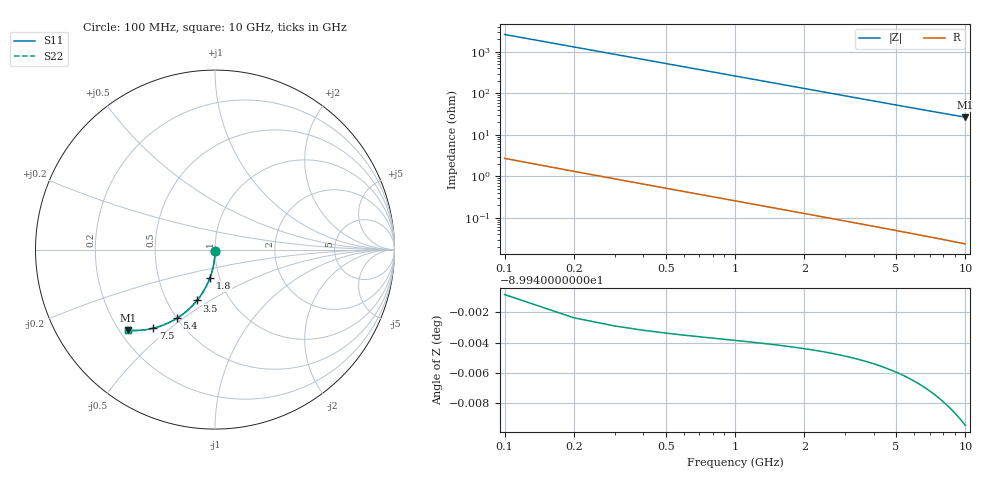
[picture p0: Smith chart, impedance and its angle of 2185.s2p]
# Hz S RI R 50.00
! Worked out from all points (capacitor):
!   100 points, 100 MHz to 10 GHz, reference 50 ohm
!   read as one part in shunt: C = 604 fF near 100 MHz
!   lowest |Z| = 26.8 ohm at 10 GHz (marker M1)
!   S11 on the Smith chart (normalised r, x): 100 MHz: 1.00, -0.02; 1.8 GHz: 0.90, -0.29; 3.5 GHz: 0.70, -0.44; 5.4 GHz: 0.50, -0.47; 7.5 GHz: 0.35, -0.44; 10 GHz: 0.23, -0.37
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1e8  -4.83e-06 -0.009  0.9998 -0.00996  0.9998 -0.00996  -4.83e-06 -0.009
2e8  -0.000282 -0.018  0.9995 -0.0199  0.9995 -0.0199  -0.000282 -0.018
3e8  -0.000739 -0.027  0.9991 -0.0299  0.9991 -0.0299  -0.000739 -0.027
4e8  -0.00137 -0.036  0.9984 -0.0398  0.9984 -0.0398  -0.00137 -0.036
5e8  -0.00219 -0.0449  0.9976 -0.0497  0.9976 -0.0497  -0.00219 -0.0449
6e8  -0.00318 -0.0538  0.9966 -0.0596  0.9966 -0.0596  -0.00318 -0.0538
8e8  -0.00569 -0.0716  0.9941 -0.0793  0.9941 -0.0793  -0.00569 -0.0716
1.1e9  -0.0108 -0.098  0.989 -0.1086  0.989 -0.1086  -0.0108 -0.098
1.4e9  -0.0174 -0.1239  0.9824 -0.1374  0.9824 -0.1374  -0.0174 -0.1239
1.8e9  -0.0284 -0.1575  0.9712 -0.1749  0.9712 -0.1749  -0.0284 -0.1575
2.1e9  -0.0383 -0.1819  0.9612 -0.2022  0.9612 -0.2022  -0.0383 -0.1819
2.5e9  -0.0536 -0.2131  0.9459 -0.2373  0.9459 -0.2373  -0.0536 -0.2131
2.9e9  -0.0709 -0.2427  0.9285 -0.2707  0.9285 -0.2707  -0.0709 -0.2427
3.4e9  -0.0952 -0.277  0.9041 -0.3099  0.9041 -0.3099  -0.0952 -0.277
3.5e9  -0.1003 -0.2835  0.8989 -0.3174  0.8989 -0.3174  -0.1003 -0.2835
4.3e9  -0.1446 -0.3309  0.8543 -0.3727  0.8543 -0.3727  -0.1446 -0.3309
5.1e9  -0.1929 -0.3697  0.8057 -0.4195  0.8057 -0.4195  -0.1929 -0.3697
5.4e9  -0.2116 -0.3821  0.7868 -0.4349  0.7868 -0.4349  -0.2116 -0.3821
6.7e9  -0.294 -0.4227  0.7036 -0.4886  0.7036 -0.4886  -0.294 -0.4227
7.5e9  -0.344 -0.438  0.653 -0.5121  0.653 -0.5121  -0.344 -0.438
8.4e9  -0.3982 -0.4477  0.5981 -0.5311  0.5981 -0.5311  -0.3982 -0.4477
1e10  -0.4864 -0.4492  0.5083 -0.5495  0.5083 -0.5495  -0.4864 -0.4492
